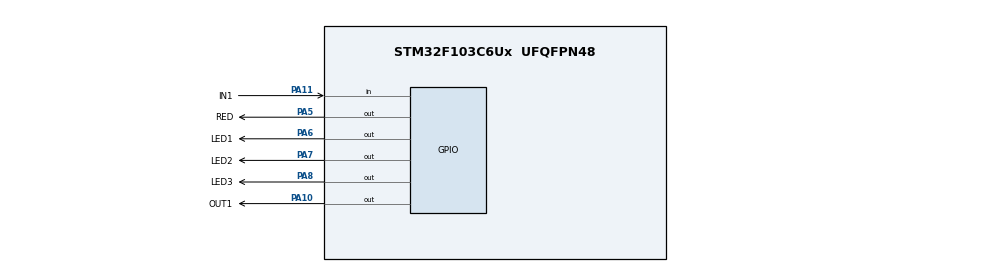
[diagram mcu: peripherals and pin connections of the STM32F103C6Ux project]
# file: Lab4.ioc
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Mcu.Family=STM32F1
Mcu.Name=STM32F103C6Ux
Mcu.Package=UFQFPN48
NVIC.PriorityGroup=NVIC_PRIORITYGROUP_4
NVIC.TIM2_IRQn=true\:0\:0\:false\:false\:true\:true\:true
PA10.GPIO_Label=OUT1
PA10.Signal=GPIO_Output
PA11.GPIO_Label=IN1
PA11.Signal=GPIO_Input
PA5.GPIO_Label=RED
PA5.Signal=GPIO_Output
PA6.GPIO_Label=LED1
PA6.Signal=GPIO_Output
PA7.GPIO_Label=LED2
PA7.Signal=GPIO_Output
PA8.GPIO_Label=LED3
PA8.Signal=GPIO_Output
ProjectManager.HeapSize=0x200
ProjectManager.StackSize=0x400
ProjectManager.TargetToolchain=STM32CubeIDE
RCC.APB1Freq_Value=8000000
RCC.APB2Freq_Value=8000000
TIM2.Period=9
TIM2.Prescaler=7999
VP_SYS_VS_ND.Mode=No_Debug
VP_TIM2_VS_ClockSourceINT.Mode=Internal
board=custom

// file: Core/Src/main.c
/* USER CODE BEGIN Header */
/**
  ******************************************************************************
  * @file           : main.c
  * @brief          : Main program body
  ******************************************************************************
  * @attention
  *
  * <h2><center>&copy; Copyright (c) 2025 STMicroelectronics.
  * All rights reserved.</center></h2>
  *
  * This software component is licensed by ST under BSD 3-Clause license,
  * the "License"; You may not use this file except in compliance with the
  * License. You may obtain a copy of the License at:
  *                        opensource.org/licenses/BSD-3-Clause
  *
  ******************************************************************************
  */
/* USER CODE END Header */
#include "main.h"

TIM_HandleTypeDef htim2;

void SystemClock_Config(void);
static void MX_TIM2_Init(void);
static void MX_GPIO_Init(void);

/* USER CODE BEGIN 0 */
void ledtest(){
	HAL_GPIO_TogglePin(RED_GPIO_Port, RED_Pin);
}
void ledtest2(){
	HAL_GPIO_TogglePin(LED1_GPIO_Port, LED1_Pin);
}
void ledtest3(){
	HAL_GPIO_TogglePin(LED2_GPIO_Port, LED2_Pin);
}
void ledtest4(){
	HAL_GPIO_TogglePin(LED3_GPIO_Port, LED3_Pin);
}
void ledtest5(){
	HAL_GPIO_TogglePin(OUT1_GPIO_Port, OUT1_Pin);
}
/* USER CODE END 0 */

int main(void)
{

  /* MCU Configuration--------------------------------------------------------*/

  /* Reset of all peripherals, Initializes the Flash interface and the Systick. */
  HAL_Init();

  /* Configure the system clock */
  SystemClock_Config();

  /* Initialize all configured peripherals */
  MX_TIM2_Init();
  MX_GPIO_Init();
  HAL_TIM_Base_Start_IT(&htim2);
  /* USER CODE BEGIN 2 */
  SCH_Init();
  SCH_Add_Task(ledtest, 0, 500);
  SCH_Add_Task(ledtest2, 0, 1000);
  SCH_Add_Task(ledtest3, 0, 1500);
  SCH_Add_Task(ledtest4, 0, 2000);
  SCH_Add_Task(ledtest5, 0, 2500);

  /* USER CODE END 2 */

  /* Infinite loop */
  while (1)
  {
	  SCH_Dispatch_Tasks();
  }
}

void SystemClock_Config(void)
{
  RCC_OscInitTypeDef RCC_OscInitStruct = {0};
  RCC_ClkInitTypeDef RCC_ClkInitStruct = {0};

  /** Initializes the RCC Oscillators according to the specified parameters
  * in the RCC_OscInitTypeDef structure.
  */
  RCC_OscInitStruct.OscillatorType = RCC_OSCILLATORTYPE_HSI;
  RCC_OscInitStruct.HSIState = RCC_HSI_ON;
  RCC_OscInitStruct.HSICalibrationValue = RCC_HSICALIBRATION_DEFAULT;
  RCC_OscInitStruct.PLL.PLLState = RCC_PLL_NONE;
  if (HAL_RCC_OscConfig(&RCC_OscInitStruct) != HAL_OK)
  {
    Error_Handler();
  }
  /** Initializes the CPU, AHB and APB buses clocks
  */
  RCC_ClkInitStruct.ClockType = RCC_CLOCKTYPE_HCLK|RCC_CLOCKTYPE_SYSCLK
                              |RCC_CLOCKTYPE_PCLK1|RCC_CLOCKTYPE_PCLK2;
  RCC_ClkInitStruct.SYSCLKSource = RCC_SYSCLKSOURCE_HSI;
  RCC_ClkInitStruct.AHBCLKDivider = RCC_SYSCLK_DIV1;
  RCC_ClkInitStruct.APB1CLKDivider = RCC_HCLK_DIV1;
  RCC_ClkInitStruct.APB2CLKDivider = RCC_HCLK_DIV1;

  if (HAL_RCC_ClockConfig(&RCC_ClkInitStruct, FLASH_LATENCY_0) != HAL_OK)
  {
    Error_Handler();
  }
}

static void MX_TIM2_Init(void)
{

  TIM_ClockConfigTypeDef sClockSourceConfig = {0};
  TIM_MasterConfigTypeDef sMasterConfig = {0};

  htim2.Instance = TIM2;
  htim2.Init.Prescaler = 7999;
  htim2.Init.CounterMode = TIM_COUNTERMODE_UP;
  htim2.Init.Period = 9;
  htim2.Init.ClockDivision = TIM_CLOCKDIVISION_DIV1;
  htim2.Init.AutoReloadPreload = TIM_AUTORELOAD_PRELOAD_DISABLE;
  if (HAL_TIM_Base_Init(&htim2) != HAL_OK)
  {
    Error_Handler();
  }
  sClockSourceConfig.ClockSource = TIM_CLOCKSOURCE_INTERNAL;
  if (HAL_TIM_ConfigClockSource(&htim2, &sClockSourceConfig) != HAL_OK)
  {
    Error_Handler();
  }
  sMasterConfig.MasterOutputTrigger = TIM_TRGO_RESET;
  sMasterConfig.MasterSlaveMode = TIM_MASTERSLAVEMODE_DISABLE;
  if (HAL_TIMEx_MasterConfigSynchronization(&htim2, &sMasterConfig) != HAL_OK)
  {
    Error_Handler();
  }

}

static void MX_GPIO_Init(void)
{
  GPIO_InitTypeDef GPIO_InitStruct = {0};

  /* GPIO Ports Clock Enable */
  __HAL_RCC_GPIOA_CLK_ENABLE();

  /*Configure GPIO pin Output Level */
  HAL_GPIO_WritePin(GPIOA, RED_Pin|LED1_Pin|LED2_Pin|LED3_Pin
                          |OUT1_Pin, GPIO_PIN_RESET);

  /*Configure GPIO pins : RED_Pin LED1_Pin LED2_Pin LED3_Pin
                           OUT1_Pin */
  GPIO_InitStruct.Pin = RED_Pin|LED1_Pin|LED2_Pin|LED3_Pin
                          |OUT1_Pin;
  GPIO_InitStruct.Mode = GPIO_MODE_OUTPUT_PP;
  GPIO_InitStruct.Pull = GPIO_NOPULL;
  GPIO_InitStruct.Speed = GPIO_SPEED_FREQ_LOW;
  HAL_GPIO_Init(GPIOA, &GPIO_InitStruct);

  /*Configure GPIO pin : IN1_Pin */
  GPIO_InitStruct.Pin = IN1_Pin;
  GPIO_InitStruct.Mode = GPIO_MODE_INPUT;
  GPIO_InitStruct.Pull = GPIO_NOPULL;
  HAL_GPIO_Init(IN1_GPIO_Port, &GPIO_InitStruct);

}

/* USER CODE BEGIN 4 */
void HAL_TIM_PeriodElapsedCallback(TIM_HandleTypeDef *htim){
	if (htim->Instance == TIM2) {
		SCH_Update();
	}
}
/* USER CODE END 4 */

void Error_Handler(void)
{
  __disable_irq();
  while (1)
  {
  }
}

/************************ (C) COPYRIGHT STMicroelectronics *****END OF FILE****/
